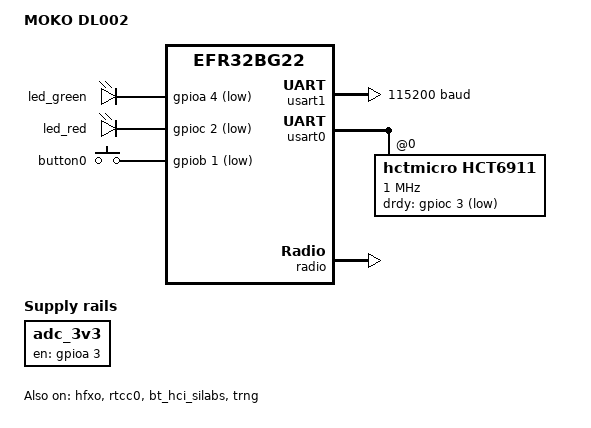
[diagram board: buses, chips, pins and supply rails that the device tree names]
/*
 * MOKO DL002 temperature probe, board MKB(SL)DL002_V1.0_20260509.
 *
 * Sources: [SCH] SCH_MKB(SL)DL002_V1.0.pdf, [DS] efr32bg22-datasheet.pdf
 */

/dts-v1/;
#include <silabs/xg22/efr32bg22c224f512gm32.dtsi>	/* [DS] p.3: 512 KB flash, 32 KB RAM, QFN32 */
#include <zephyr/dt-bindings/input/input-event-codes.h>
#include <zephyr/dt-bindings/regulator/silabs_dcdc.h>
#include "dl002-pinctrl.dtsi"

/ {
	model = "MOKO DL002";
	compatible = "moko,dl002", "silabs,efr32bg22";

	chosen {
		zephyr,bt-hci = &bt_hci_silabs;
		zephyr,console = &usart1;	/* only used if UART console is enabled */
		zephyr,code-partition = &slot0_partition;
		zephyr,flash = &flash0;
		zephyr,sram = &sram0;
	};

	aliases {
		led0 = &led_green;
		led1 = &led_red;
		sw0 = &button0;
	};

	/* [SCH] LED box: VDD -> resistor -> LED -> pin => active LOW (tested on hardware) */
	leds {
		compatible = "gpio-leds";

		led_green: led_green {
			gpios = <&gpioa 4 GPIO_ACTIVE_LOW>;	/* PA04, R98 100R, LED2 */
		};

		led_red: led_red {
			gpios = <&gpioc 2 GPIO_ACTIVE_LOW>;	/* PC02, R1 470R, LED1 */
		};
	};

	/* [SCH] Mechanical Switch: SW1 -> R6 1K -> PB01, other side GND, no external pull-up */
	buttons {
		compatible = "gpio-keys";

		button0: button_0 {
			gpios = <&gpiob 1 (GPIO_ACTIVE_LOW | GPIO_PULL_UP)>;	/* PB01, not yet tested */
			zephyr,code = <INPUT_KEY_0>;
		};
	};

	/* [SCH] Boost 3.3V: U6 LP62610-33 EN = PA03, VOUT = ADC_3.3V -> HCT6911 AVDD/DVDD.
	 * PA03 is also SWV: never enable SWO trace on this board.
	 */
	adc_3v3: adc_3v3 {
		compatible = "regulator-fixed";
		regulator-name = "adc_3v3";
		enable-gpios = <&gpioa 3 GPIO_ACTIVE_HIGH>;
		startup-delay-us = <2000>;	/* UNVERIFIED: no LP62610 datasheet, safe guess */
		regulator-boot-on;
	};
};

/* [DS] p.3: max CPU 76.8 MHz */
&cpu0 {
	clock-frequency = <76800000>;
};

/* [SCH] X1 38.4 MHz, no external load caps. [DS] p.22: only 38.4 MHz supported.
 * UNVERIFIED: crystal part unknown. ctune/precision are the Silicon Labs BG22
 * defaults (also AL300 + dev kit). Check ctune at the Bluetooth stage; ask MOKO.
 */
&hfxo {
	ctune = <140>;
	precision = <50>;
	status = "okay";
};

/* 38.4 MHz * (3839 + 1) / (1919 + 1) = 76.8 MHz. Settings from the dev kit. */
&hfrcodpll {
	clock-frequency = <DT_FREQ_K(76800)>;
	clocks = <&hfxo>;
	dpll-autorecover;
	dpll-edge = "fall";
	dpll-lock = "phase";
	dpll-m = <1919>;
	dpll-n = <3839>;
};

/* [SCH] L3 2.2 uH + C18 4.7 uF fitted. [DS] p.23: DC-DC needs 2.2 uH / 4.7 uF */
&dcdc {
	regulator-boot-on;
	regulator-initial-mode = <SILABS_DCDC_MODE_BUCK>;
	status = "okay";
};

/* [SCH] UART box: TX pad = PA00, RX pad = PB00 (pins in dl002-pinctrl.dtsi) */
&usart1 {
	current-speed = <115200>;
	pinctrl-0 = <&usart1_default>;
	pinctrl-names = "default";
	status = "okay";
};

&gpio {
	status = "okay";
};

&gpioa {
	status = "okay";
};

&gpiob {
	status = "okay";
};

&gpioc {
	status = "okay";
};

&gpiod {
	status = "okay";
};

/* [SCH] PT100 box: SPI to U11 HCT6911 (pins in dl002-pinctrl.dtsi).
 * [HCT] p.32: SCLK max 10 MHz. CS# (pin 2) is active low.
 */
&usart0 {
	#address-cells = <1>;
	#size-cells = <0>;
	clock-frequency = <1000000>;
	pinctrl-0 = <&usart0_default>;
	pinctrl-names = "default";
	cs-gpios = <&gpioc 4 GPIO_ACTIVE_LOW>;
	status = "okay";

	/* [SCH] U11 HCT6911, CS# = PC04 (cs-gpios index 0) */
	hct6911: hct6911@0 {
		compatible = "hctmicro,hct6911";
		reg = <0>;
		spi-max-frequency = <DT_FREQ_M(1)>;
		/* [SCH] pin 15 DOUT/DRDY# -> R78 -> PC03 (= MISO). LOW = conversion ready ([HCT] p.26) */
		drdy-gpios = <&gpioc 3 GPIO_ACTIVE_LOW>;
	};
};

/* Zephyr system clock (sleeptimer) runs on RTCC0 */
&rtcc0 {
	status = "okay";
};

/* Bluetooth controller (disabled by default in efr32bg22.dtsi) */
&bt_hci_silabs {
	status = "okay";
};

/* Random numbers for Bluetooth; chip dtsi already points zephyr,entropy here */
&trng {
	status = "okay";
};

/* [SCH] PAVDD (pin 13) <- L4 ferrite <- VDCDC. [DS] p.23: DC-DC output 1.8 V.
 * Chip default assumes 3300 mV.
 */
&radio {
	pa-voltage-mv = <1800>;
};

/* Software layout of the 512 KB flash, same as the dev kit. Only matters once MCUboot is added. */
&flash0 {
	partitions {
		compatible = "fixed-partitions";
		#address-cells = <1>;
		#size-cells = <1>;

		boot_partition: partition@0 {
			reg = <0x00000000 DT_SIZE_K(48)>;
			label = "mcuboot";
			read-only;
		};

		slot0_partition: partition@c000 {
			reg = <0x0000c000 DT_SIZE_K(224)>;
			label = "image-0";
		};

		slot1_partition: partition@44000 {
			reg = <0x00044000 DT_SIZE_K(224)>;
			label = "image-1";
		};

		storage_partition: partition@7c000 {
			reg = <0x0007c000 DT_SIZE_K(16)>;
			label = "storage";
		};
	};
};
